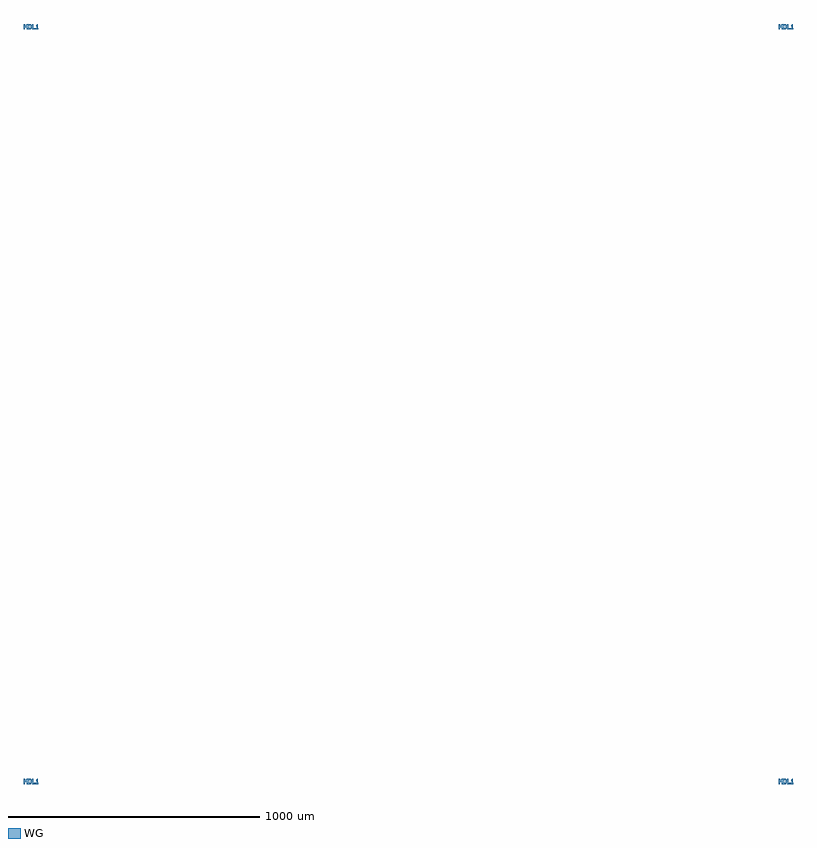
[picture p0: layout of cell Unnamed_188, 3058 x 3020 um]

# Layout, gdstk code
import gdstk
lib = gdstk.Library(unit=1e-6, precision=1e-09)
def P(c, l, *ps):  # polygons
    for p in ps: c.add(gdstk.Polygon(p, *l))
WG = (1, 0)

text_tmdl1_s20_p0_0_jlef = lib.new_cell('text_TMDL1_S20_P0_0_Jleft_L1_0')
P(text_tmdl1_s20_p0_0_jlef, WG, [(52,0),(52,4),(54,4),(54,12),(52,12),(52,16),(56,20),(58,20),(58,4),(60,4),(60,0)],
  [(36,0),(36,20),(40,20),(40,4),(50,4),(50,0)],
  [(20,0),(20,8),(24,8),(24,4),(28,4),(30,6),(30,14),(28,16),(24,16),(24,12),(20,12),(20,20),(30,20),(34,16),(34,4),(30,0)],
  [(2,0),(2,20),(6,20),(10,14),(14,20),(18,20),(18,0),(14,0),(14,12),(10,6),(6,12),(6,0)])

unnamed_188 = lib.new_cell('Unnamed_188')
unnamed_188.add(gdstk.Reference(text_tmdl1_s20_p0_0_jlef, (1000,1000)))
unnamed_188.add(gdstk.Reference(text_tmdl1_s20_p0_0_jlef, (4000,1000)))
unnamed_188.add(gdstk.Reference(text_tmdl1_s20_p0_0_jlef, (1000,4000)))
unnamed_188.add(gdstk.Reference(text_tmdl1_s20_p0_0_jlef, (4000,4000)))

lib.write_gds('Unnamed_188.gds')
